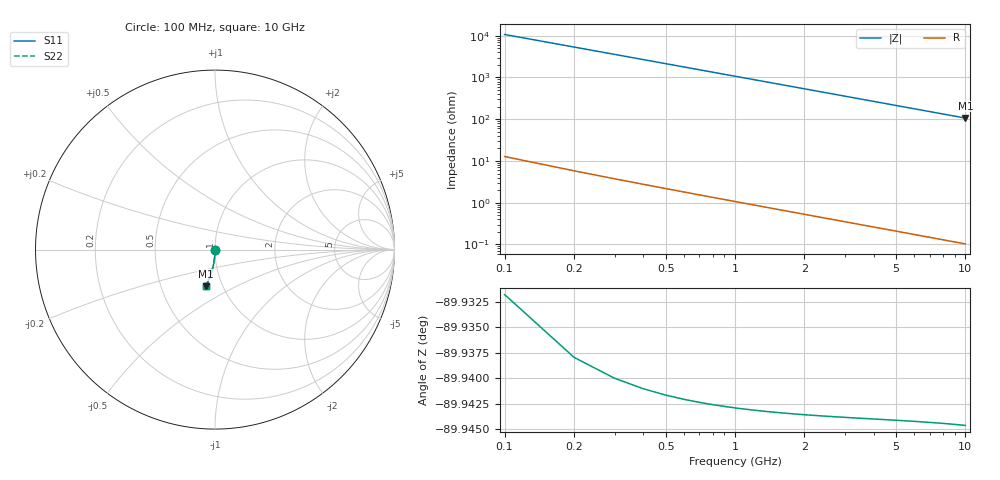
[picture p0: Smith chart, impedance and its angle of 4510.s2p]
# Hz S RI R 50.00
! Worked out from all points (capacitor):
!   100 points, 100 MHz to 10 GHz, reference 50 ohm
!   read as one part in shunt: C = 148 fF near 100 MHz
!   lowest |Z| = 106 ohm at 10 GHz (marker M1)
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1e8  5.45e-05 -0.00214  0.9999 -0.00252  0.9999 -0.00252  5.45e-05 -0.00214
2e8  3.64e-05 -0.00429  0.9999 -0.00504  0.9999 -0.00504  3.64e-05 -0.00429
3e8  7.44e-06 -0.00643  0.9999 -0.00756  0.9999 -0.00756  7.44e-06 -0.00643
4e8  -3.24e-05 -0.00857  0.9998 -0.0101  0.9998 -0.0101  -3.24e-05 -0.00857
5e8  -8.31e-05 -0.0107  0.9998 -0.0126  0.9998 -0.0126  -8.31e-05 -0.0107
6e8  -0.000145 -0.0129  0.9997 -0.0151  0.9997 -0.0151  -0.000145 -0.0129
7e8  -0.000217 -0.015  0.9997 -0.0176  0.9997 -0.0176  -0.000217 -0.015
8e8  -0.0003 -0.0171  0.9996 -0.0202  0.9996 -0.0202  -0.0003 -0.0171
9e8  -0.000394 -0.0193  0.9995 -0.0227  0.9995 -0.0227  -0.000394 -0.0193
1.1e9  -0.000614 -0.0236  0.9992 -0.0277  0.9992 -0.0277  -0.000614 -0.0236
1.4e9  -0.00103 -0.03  0.9988 -0.0353  0.9988 -0.0353  -0.00103 -0.03
1.8e9  -0.00173 -0.0386  0.9981 -0.0453  0.9981 -0.0453  -0.00173 -0.0386
2.1e9  -0.00236 -0.045  0.9975 -0.0529  0.9975 -0.0529  -0.00236 -0.045
2.5e9  -0.00337 -0.0535  0.9965 -0.0629  0.9965 -0.0629  -0.00337 -0.0535
2.9e9  -0.00454 -0.062  0.9953 -0.0729  0.9953 -0.0729  -0.00454 -0.062
3.4e9  -0.00625 -0.0726  0.9935 -0.0854  0.9935 -0.0854  -0.00625 -0.0726
4.2e9  -0.00953 -0.0894  0.9902 -0.1053  0.9902 -0.1053  -0.00953 -0.0894
5.1e9  -0.014 -0.1082  0.9856 -0.1274  0.9856 -0.1274  -0.014 -0.1082
5.9e9  -0.0187 -0.1246  0.9809 -0.1469  0.9809 -0.1469  -0.0187 -0.1246
6.7e9  -0.0241 -0.1408  0.9755 -0.1662  0.9755 -0.1662  -0.0241 -0.1408
8.4e9  -0.0375 -0.1743  0.9619 -0.2062  0.9619 -0.2062  -0.0375 -0.1743
1e10  -0.0525 -0.2044  0.9466 -0.2425  0.9466 -0.2425  -0.0525 -0.2044
